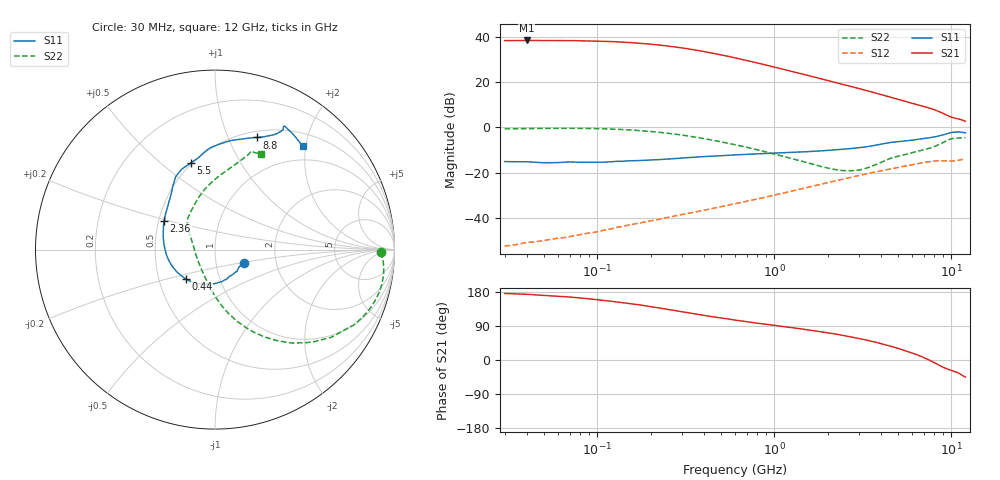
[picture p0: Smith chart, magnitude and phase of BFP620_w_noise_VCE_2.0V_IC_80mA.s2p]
! Infineon Technologies  Discrete & RF Semiconductors
! BFP620
! VCE =  2.0 V,  IC =  80 mA
! Common Emitter S-Parameters:  Nov 2015
# GHz  S  MA  R  50
!  f  S11  S21  S12  S22
! GHz  MAG  ANG  MAG  ANG  MAG  ANG  MAG  ANG
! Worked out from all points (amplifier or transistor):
!   239 points, 30 MHz to 12 GHz, reference 50 ohm
!   highest |S21| = 38.3 dB at 40 MHz (marker M1)
!   |S21| within 3 dB of that: start of sweep to 283.7 MHz
!   unconditionally stable (mu >= 1): 1.558 GHz to end of sweep
!   at 300 MHz: K = 0.58, MSG = 36.7 dB, |S12| = -38.5 dB
!   at 1.88 GHz: K = 1.01, MAG = 22.3 dB, |S12| = -24.9 dB
!   at 12 GHz: K = 1.09, MAG = 6.6 dB, |S12| = -14.2 dB
!   lowest NFmin = 2.02 dB at 450 MHz
!   S11 on the Smith chart (normalised r, x): 30 MHz: 1.36, -0.20; 440 MHz: 0.69, -0.24; 2.36 GHz: 0.53, +0.19; 5.5 GHz: 0.49, +0.63; 8.8 GHz: 0.57, +1.28; 12 GHz: 0.73, +1.95
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0.03  0.1754 -24.2  81.35 175.6  0.0024 108.1  0.9234 -1.0
0.04  0.1737 -29.7  81.98 173.4  0.0029 99.6  0.9383 -3.6
0.07  0.173 -45.0  81.54 166.2  0.0039 90.5  0.9498 -11.2
0.085  0.1694 -51.1  80.38 162.6  0.0045 86.7  0.9442 -14.8
0.115  0.1725 -64.9  77.99 156.0  0.0056 82.8  0.9201 -21.6
0.145  0.1802 -75.6  74.69 150.2  0.0068 79.7  0.8854 -27.6
0.175  0.1851 -84.8  70.89 145.2  0.0078 77.8  0.8422 -32.7
0.2  0.1907 -91.8  68.05 140.7  0.0087 76.5  0.8101 -37.2
0.24  0.1976 -102.1  63.04 135.0  0.01 75.7  0.7534 -42.9
0.3  0.2101 -114.8  56.27 127.3  0.0119 74.2  0.675 -50.5
0.36  0.2202 -124.6  50.29 121.4  0.0137 73.5  0.6056 -56.4
0.44  0.2302 -134.8  43.6 114.8  0.016 72.7  0.528 -63.1
0.6  0.2467 -150.0  33.9 105.3  0.0206 71.7  0.4138 -73.3
0.7  0.2539 -157.0  29.57 100.9  0.0234 71.2  0.361 -78.3
0.9  0.2657 -168.0  23.42 94.1  0.0291 70.2  0.2855 -86.6
1.2  0.2778 -179.8  17.79 86.5  0.0377 67.9  0.2136 -97.3
1.64  0.2949 167.5  13.12 77.9  0.0502 64.0  0.1548 -113.3
2.36  0.3251 150.7  9.123 66.2  0.0698 56.6  0.1127 -148.0
4.5  0.462 118.3  4.637 36.7  0.1206 33.5  0.2051 139.2
5.5  0.501 105.8  3.718 24.2  0.1403 23.3  0.2518 122.4
8.8  0.6667 69.6  2.103 -16.9  0.1829 -13.3  0.4445 81.7
12  0.7554 49.6  1.357 -45.0  0.1942 -37.5  0.5921 64.4
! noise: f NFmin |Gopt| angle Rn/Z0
0.45  2.02  0.42  -168  0.1
0.9  2.03  0.45  -156  0.12
1.9  2.04  0.48  -140  0.16
2.4  2.08  0.48  -137  0.18
3.5  2.15  0.51  -108  0.34
5.5  2.46  0.5  -85  0.56
10  2.73  0.7  -41  1.89
